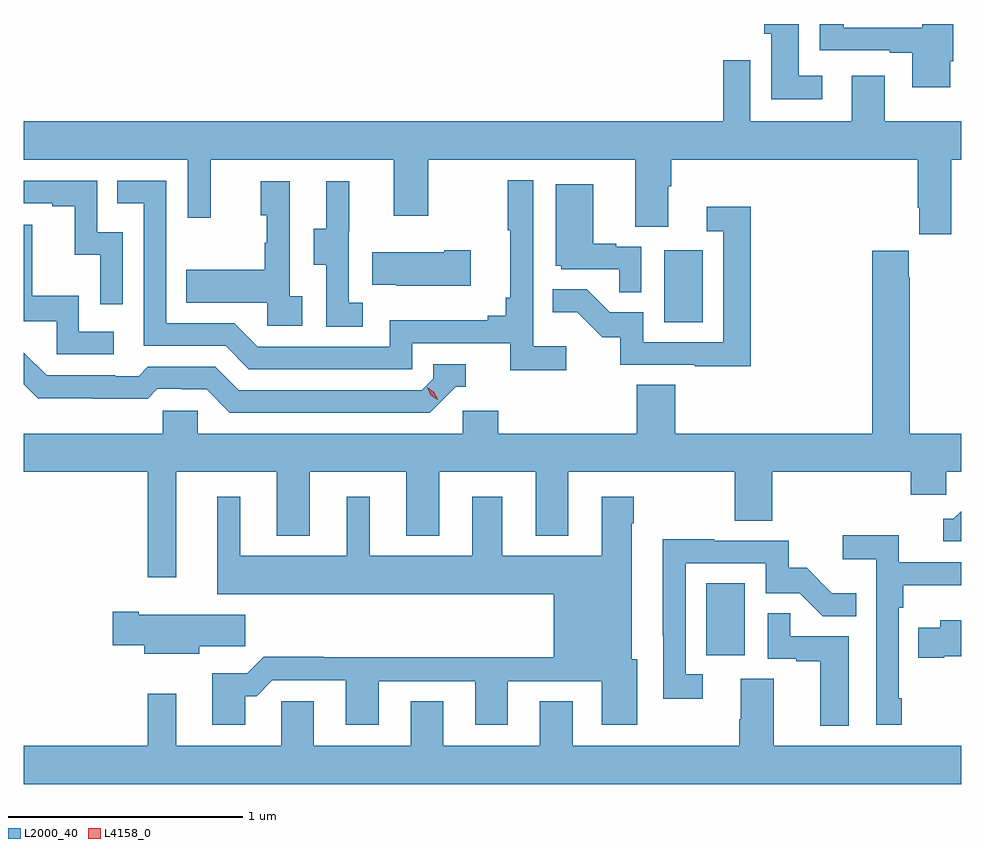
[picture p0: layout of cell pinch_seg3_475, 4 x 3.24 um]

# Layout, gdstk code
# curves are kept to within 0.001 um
import gdstk
lib = gdstk.Library(unit=1e-6, precision=1e-09)
def R(c, l, rs):  # rectangles x0, y0, x1, y1
    for r in rs: c.add(gdstk.rectangle(r[:2], r[2:], *l))
def P(c, l, *ps):  # polygons
    for p in ps: c.add(gdstk.Polygon(p, *l))
L2000_40 = (2000, 40)
L4158_0 = (4158, 0)

pinch_seg3_475 = lib.new_cell('pinch_seg3_475')
R(pinch_seg3_475, L2000_40, [(938.324,676.158,938.488,676.465), (938.144,677.58,938.308,677.887)])
P(pinch_seg3_475, L2000_40, [(939.364,678.694),(939.377,678.694),(939.377,678.852),(939.245,678.852),(939.245,678.837),(938.911,678.837),(938.911,678.852),(938.807,678.852),(938.807,678.741),(939.107,678.741),(939.107,678.729),(939.203,678.729),(939.203,678.582),(939.364,678.582)],
  [(938.818,678.631),(938.719,678.631),(938.719,678.852),(938.57,678.852),(938.57,678.81),(938.6,678.81),(938.6,678.53),(938.818,678.53)],
  [(939.37,678.272),(939.411,678.272),(939.411,678.436),(939.085,678.436),(939.085,678.631),(938.945,678.631),(938.945,678.436),(938.511,678.436),(938.511,678.697),(938.395,678.697),(938.395,678.436),(935.411,678.436),(935.411,678.272),(936.111,678.272),(936.111,678.024),(936.209,678.024),(936.209,678.272),(936.989,678.272),(936.989,678.033),(937.137,678.033),(937.137,678.272),(938.021,678.272),(938.021,677.986),(938.161,677.986),(938.161,678.16),(938.174,678.16),(938.174,678.272),(939.227,678.272),(939.227,678.067),(939.233,678.067),(939.233,677.955),(939.37,677.955)],
  [(937.726,677.476),(937.584,677.476),(937.584,678.184),(937.476,678.184),(937.476,677.971),(937.487,677.971),(937.487,677.683),(937.468,677.683),(937.468,677.606),(937.391,677.606),(937.391,677.587),(936.972,677.587),(936.972,677.475),(936.408,677.475),(936.309,677.574),(936.018,677.574),(936.018,678.183),(935.809,678.183),(935.809,678.087),(935.922,678.087),(935.922,677.478),(936.272,677.478),(936.371,677.379),(937.068,677.379),(937.068,677.49),(937.487,677.49),(937.487,677.374),(937.726,677.374)],
  [(935.832,677.964),(935.724,677.964),(935.724,678.183),(935.411,678.183),(935.411,678.087),(935.531,678.087),(935.531,678.075),(935.627,678.075),(935.627,677.867),(935.736,677.867),(935.736,677.655),(935.832,677.655)],
  [(936.858,677.663),(936.798,677.663),(936.798,677.967),(936.8,677.967),(936.8,678.181),(936.701,678.181),(936.701,677.979),(936.647,677.979),(936.647,677.824),(936.702,677.824),(936.702,677.56),(936.858,677.56)],
  [(936.598,677.69),(936.546,677.69),(936.546,678.181),(936.422,678.181),(936.422,678.036),(936.448,678.036),(936.448,677.918),(936.438,677.918),(936.438,677.803),(936.103,677.803),(936.103,677.663),(936.45,677.663),(936.45,677.565),(936.598,677.565)],
  [(938.046,677.901),(937.94,677.901),(937.94,677.914),(937.84,677.914),(937.84,678.169),(937.682,678.169),(937.682,677.82),(937.704,677.82),(937.704,677.805),(937.951,677.805),(937.951,677.707),(938.046,677.707)],
  [(938.513,678.073),(938.325,678.073),(938.325,677.967),(938.397,677.967),(938.397,677.493),(938.055,677.493),(938.055,677.622),(937.911,677.622),(937.813,677.72),(937.669,677.72),(937.669,677.621),(937.773,677.621),(937.88,677.514),(937.957,677.514),(937.957,677.397),(938.275,677.397),(938.275,677.392),(938.513,677.392)],
  [(935.794,677.538),(935.646,677.538),(935.646,677.692),(935.447,677.692),(935.447,677.995),(935.411,677.995),(935.411,677.583),(935.55,677.583),(935.55,677.442),(935.794,677.442)],
  [(937.318,677.886),(937.205,677.886),(937.205,677.878),(936.898,677.878),(936.898,677.738),(937.003,677.738),(937.003,677.735),(937.318,677.735)],
  [(936.061,676.94),(936.491,676.94),(936.491,676.667),(936.631,676.667),(936.631,676.94),(937.043,676.94),(937.043,676.667),(937.183,676.667),(937.183,676.94),(937.595,676.94),(937.595,676.667),(937.735,676.667),(937.735,676.94),(938.446,676.94),(938.446,676.732),(938.606,676.732),(938.606,676.94),(939.197,676.94),(939.197,676.842),(939.348,676.842),(939.348,676.94),(939.411,676.94),(939.411,677.104),(939.192,677.104),(939.192,677.771),(939.187,677.771),(939.187,677.884),(939.032,677.884),(939.032,677.104),(938.192,677.104),(938.192,677.312),(938.027,677.312),(938.027,677.104),(937.436,677.104),(937.436,677.202),(937.284,677.202),(937.284,677.104),(936.153,677.104),(936.153,677.202),(936.003,677.202),(936.003,677.104),(935.411,677.104),(935.411,676.94),(935.94,676.94),(935.94,676.491),(936.061,676.491)],
  [(937.254,677.304),(937.297,677.304),(937.297,677.4),(937.158,677.4),(937.158,677.337),(937.11,677.289),(936.327,677.289),(936.228,677.388),(935.939,677.388),(935.9,677.349),(935.801,677.349),(935.801,677.352),(935.508,677.352),(935.411,677.449),(935.411,677.314),(935.47,677.255),(935.706,677.255),(935.706,677.253),(935.939,677.253),(935.981,677.295),(936.084,677.295),(936.084,677.292),(936.191,677.292),(936.29,677.193),(937.143,677.193)],
  [(936.355,675.983),(936.404,675.983),(936.471,676.05),(936.785,676.05),(936.785,675.861),(936.925,675.861),(936.925,676.047),(937.337,676.047),(937.337,675.861),(937.477,675.861),(937.477,676.047),(937.877,676.047),(937.877,675.861),(938.029,675.861),(938.029,676.14),(938.005,676.14),(938.005,676.721),(938.013,676.721),(938.013,676.834),(937.877,676.834),(937.877,676.582),(937.453,676.582),(937.453,676.834),(937.325,676.834),(937.325,676.582),(936.886,676.582),(936.886,676.834),(936.788,676.834),(936.788,676.582),(936.334,676.582),(936.334,676.834),(936.236,676.834),(936.236,676.418),(937.673,676.418),(937.673,676.148),(936.689,676.148),(936.689,676.151),(936.434,676.151),(936.364,676.081),(936.215,676.081),(936.215,675.861),(936.355,675.861)],
  [(939.411,676.773),(939.378,676.74),(939.335,676.74),(939.335,676.644),(939.411,676.644)],
  [(939.157,675.973),(939.144,675.973),(939.144,676.361),(939.164,676.361),(939.164,676.457),(939.411,676.457),(939.411,676.554),(939.146,676.554),(939.146,676.67),(938.907,676.67),(938.907,676.568),(939.048,676.568),(939.048,675.861),(939.157,675.861)],
  [(938.308,676.077),(938.235,676.077),(938.235,676.551),(938.577,676.551),(938.577,676.422),(938.722,676.422),(938.82,676.324),(938.963,676.324),(938.963,676.423),(938.859,676.423),(938.752,676.53),(938.676,676.53),(938.676,676.647),(938.357,676.647),(938.357,676.652),(938.138,676.652),(938.139,675.972),(938.308,675.972)],
  [(936.16,676.195),(936.355,676.195),(936.355,676.33),(935.902,676.33),(935.902,676.343),(935.79,676.343),(935.79,676.201),(935.924,676.201),(935.924,676.163),(936.16,676.163)],
  [(938.932,676.239),(938.681,676.239),(938.681,676.337),(938.586,676.337),(938.586,676.143),(938.707,676.143),(938.707,676.131),(938.81,676.131),(938.81,675.857),(938.932,675.857)],
  [(939.34,676.154),(939.411,676.154),(939.411,676.306),(939.323,676.306),(939.323,676.276),(939.229,676.276),(939.229,676.147),(939.34,676.147)],
  [(939.411,675.772),(938.611,675.772),(938.611,676.058),(938.471,676.058),(938.471,675.884),(938.464,675.884),(938.464,675.772),(937.753,675.772),(937.753,675.962),(937.613,675.962),(937.613,675.772),(937.201,675.772),(937.201,675.962),(937.061,675.962),(937.061,675.772),(936.649,675.772),(936.649,675.962),(936.51,675.962),(936.51,675.772),(936.061,675.772),(936.061,675.994),(935.94,675.994),(935.94,675.772),(935.411,675.772),(935.411,675.608),(939.411,675.608)])
P(pinch_seg3_475, L4158_0, [(937.178,677.248),(937.147,677.268),(937.132,677.301),(937.132,677.301),(937.132,677.301),(937.162,677.281),(937.178,677.248),(937.178,677.248)])

lib.write_gds('pinch_seg3_475.gds')
